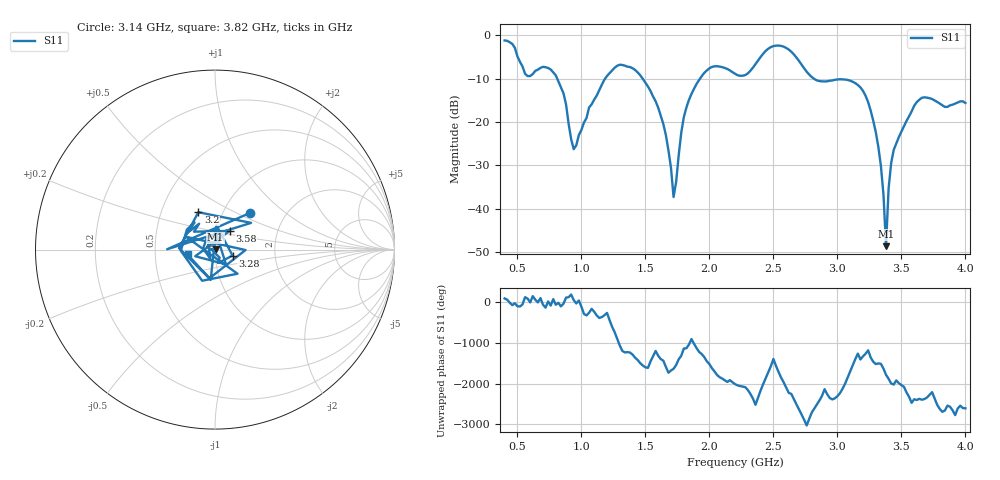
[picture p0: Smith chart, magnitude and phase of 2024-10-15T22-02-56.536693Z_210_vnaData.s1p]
! Created with skrf (http://scikit-rf.org).
# Hz S RI R 50.0
!freq ReS11 ImS11
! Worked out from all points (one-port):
!   181 points, 400 MHz to 4 GHz, reference 50 ohm
!   lowest |S11| = -48.6 dB at 3.38 GHz (marker M1), VSWR 1.01, Z = 50.4 + j0.114 ohm
!   |S11| at or under -10 dB: 810.9 MHz to 1.186 GHz (374.9 MHz wide, 37.5 % of centre); 1.478 GHz to 1.927 GHz (448.6 MHz wide, 26.3 % of centre); 2.815 GHz to end of sweep
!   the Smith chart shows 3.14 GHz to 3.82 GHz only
!   S11 on the Smith chart (normalised r, x): 3.14 GHz: 1.33, +0.59; 3.2 GHz: 0.77, +0.34; 3.28 GHz: 1.21, -0.08; 3.58 GHz: 1.15, +0.24; 3.82 GHz: 0.73, -0.04
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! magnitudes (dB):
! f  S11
! 400 MHz  -1.2
! 560 MHz  -8.9
! 740 MHz  -7.6
! 860 MHz  -13.4
! 940 MHz  -26.3
! 1.3 GHz  -6.8
! 1.6 GHz  -16.7
! 1.66 GHz  -23.0
! 1.72 GHz  -37.3
! 1.76 GHz  -27.7
! 1.82 GHz  -16.7
! 1.94 GHz  -9.4
! 2.2 GHz  -8.9
! 2.5 GHz  -2.5
! 2.66 GHz  -4.4
! 2.84 GHz  -10.4
! 3.1 GHz  -10.5
! 3.14 GHz  -11.1
! 3.2 GHz  -12.8
! 3.28 GHz  -19.7
! 3.34 GHz  -30.2
! 3.38 GHz  -48.6
! 3.4 GHz  -35.3
! 3.42 GHz  -29.5
! 3.56 GHz  -18.7
! 3.58 GHz  -17.6
! 3.82 GHz  -16.2
! 4 GHz  -15.6
